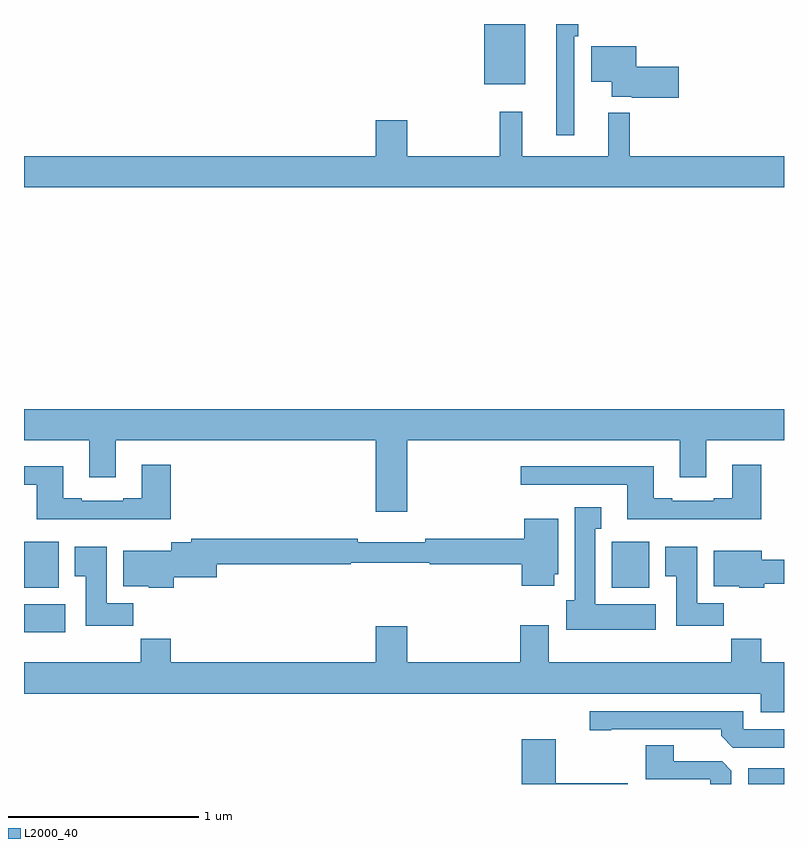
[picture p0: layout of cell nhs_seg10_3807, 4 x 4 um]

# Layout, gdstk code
import gdstk
lib = gdstk.Library(unit=1e-6, precision=1e-09)
def R(c, l, rs):  # rectangles x0, y0, x1, y1
    for r in rs: c.add(gdstk.rectangle(r[:2], r[2:], *l))
def P(c, l, *ps):  # polygons
    for p in ps: c.add(gdstk.Polygon(p, *l))
L2000_40 = (2000, 40)

nhs_seg10_3807 = lib.new_cell('nhs_seg10_3807')
R(nhs_seg10_3807, L2000_40, [(322.811,1306.5,323,1306.582), (319,1307.3,319.216,1307.446), (319,1307.534,319.183,1307.776), (322.094,1307.534,322.291,1307.776), (321.422,1310.183,321.637,1310.5)])
P(nhs_seg10_3807, L2000_40, [(321.897,1310.435),(321.917,1310.435),(321.917,1310.5),(321.8,1310.5),(321.8,1309.914),(321.897,1309.914)],
  [(322.447,1310.275),(322.222,1310.275),(322.222,1310.383),(321.986,1310.383),(321.986,1310.195),(322.094,1310.195),(322.094,1310.117),(322.198,1310.117),(322.198,1310.112),(322.447,1310.112)],
  [(323,1309.804),(322.188,1309.804),(322.188,1310.032),(322.076,1310.032),(322.076,1309.804),(321.623,1309.804),(321.623,1310.038),(321.505,1310.038),(321.505,1309.804),(321.016,1309.804),(321.016,1309.993),(320.852,1309.993),(320.852,1309.804),(319,1309.804),(319,1309.64),(323,1309.64)],
  [(321.016,1308.308),(322.451,1308.308),(322.451,1308.114),(322.591,1308.114),(322.591,1308.308),(323,1308.308),(323,1308.472),(319,1308.472),(319,1308.308),(319.343,1308.308),(319.343,1308.114),(319.483,1308.114),(319.483,1308.308),(320.852,1308.308),(320.852,1307.934),(321.016,1307.934)],
  [(319.772,1308.181),(319.619,1308.181),(319.619,1308.004),(319.523,1308.004),(319.523,1307.991),(319.303,1307.991),(319.303,1308.004),(319.207,1308.004),(319.207,1308.172),(319,1308.172),(319,1308.075),(319.067,1308.075),(319.067,1307.894),(319.772,1307.894)],
  [(322.88,1308.181),(322.727,1308.181),(322.727,1308.004),(322.631,1308.004),(322.631,1307.991),(322.411,1307.991),(322.411,1308.004),(322.315,1308.004),(322.315,1308.172),(321.615,1308.172),(321.615,1308.075),(322.175,1308.075),(322.175,1307.894),(322.88,1307.894)],
  [(322.324,1307.446),(322.006,1307.446),(322.006,1307.843),(322.039,1307.843),(322.039,1307.956),(321.899,1307.956),(321.899,1307.466),(321.854,1307.466),(321.854,1307.312),(322.324,1307.312)],
  [(319.787,1307.588),(320.014,1307.588),(320.014,1307.656),(320.719,1307.656),(320.719,1307.664),(321.136,1307.664),(321.136,1307.656),(321.62,1307.656),(321.62,1307.544),(321.79,1307.544),(321.79,1307.604),(321.811,1307.604),(321.811,1307.896),(321.632,1307.896),(321.632,1307.792),(321.112,1307.792),(321.112,1307.773),(320.756,1307.773),(320.756,1307.792),(319.879,1307.792),(319.879,1307.773),(319.775,1307.773),(319.775,1307.728),(319.523,1307.728),(319.523,1307.54),(319.656,1307.54),(319.656,1307.534),(319.787,1307.534)],
  [(322.682,1307.452),(322.543,1307.452),(322.543,1307.749),(322.376,1307.749),(322.376,1307.593),(322.433,1307.593),(322.433,1307.334),(322.682,1307.334)],
  [(319.574,1307.452),(319.435,1307.452),(319.435,1307.749),(319.268,1307.749),(319.268,1307.593),(319.325,1307.593),(319.325,1307.334),(319.574,1307.334)],
  [(322.895,1307.553),(323,1307.553),(323,1307.681),(322.882,1307.681),(322.882,1307.728),(322.631,1307.728),(322.631,1307.54),(322.764,1307.54),(322.764,1307.534),(322.895,1307.534)],
  [(323,1307.14),(322.88,1307.14),(322.88,1307.264),(322.723,1307.264),(322.723,1307.14),(321.763,1307.14),(321.763,1307.335),(321.611,1307.335),(321.611,1307.14),(321.016,1307.14),(321.016,1307.329),(320.852,1307.329),(320.852,1307.14),(319.772,1307.14),(319.772,1307.264),(319.615,1307.264),(319.615,1307.14),(319,1307.14),(319,1306.976),(322.877,1306.976),(322.877,1306.877),(323,1306.877)],
  [(323,1306.788),(322.785,1306.788),(322.785,1306.884),(321.978,1306.884),(321.978,1306.783),(322.09,1306.783),(322.09,1306.788),(322.67,1306.788),(322.67,1306.754),(322.731,1306.692),(323,1306.692)],
  [(322.177,1306.504),(321.798,1306.504),(321.798,1306.735),(321.62,1306.735),(321.62,1306.5),(322.177,1306.5)],
  [(322.723,1306.571),(322.674,1306.62),(322.42,1306.62),(322.42,1306.703),(322.273,1306.703),(322.273,1306.524),(322.611,1306.524),(322.611,1306.5),(322.723,1306.5)])

lib.write_gds('nhs_seg10_3807.gds')
